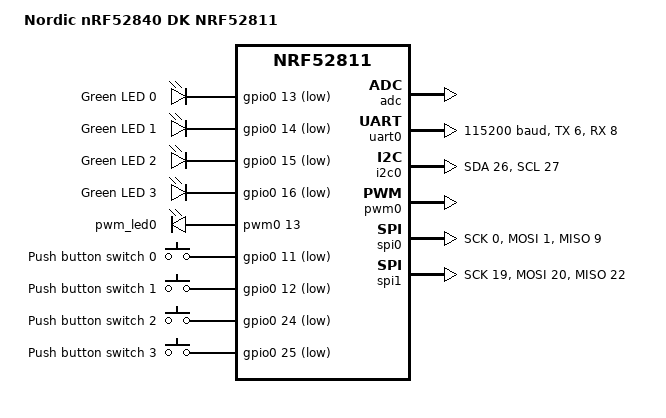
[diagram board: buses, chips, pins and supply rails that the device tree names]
/*
 * Copyright (c) 2019 Nordic Semiconductor
 *
 * SPDX-License-Identifier: Apache-2.0
 */

/dts-v1/;
#include <nordic/nrf52811_qfaa.dtsi>

/ {
	model = "Nordic nRF52840 DK NRF52811";
	compatible = "nordic,nrf52840-dk-nrf52811";

	chosen {
		zephyr,console = &uart0;
		zephyr,shell-uart = &uart0;
		zephyr,uart-mcumgr = &uart0;
		zephyr,bt-mon-uart = &uart0;
		zephyr,bt-c2h-uart = &uart0;
		zephyr,sram = &sram0;
		zephyr,flash = &flash0;
		zephyr,code-partition = &slot0_partition;
	};

	leds {
		compatible = "gpio-leds";
		led0: led_0 {
			gpios = <&gpio0 13 GPIO_ACTIVE_LOW>;
			label = "Green LED 0";
		};
		led1: led_1 {
			gpios = <&gpio0 14 GPIO_ACTIVE_LOW>;
			label = "Green LED 1";
		};
		led2: led_2 {
			gpios = <&gpio0 15 GPIO_ACTIVE_LOW>;
			label = "Green LED 2";
		};
		led3: led_3 {
			gpios = <&gpio0 16 GPIO_ACTIVE_LOW>;
			label = "Green LED 3";
		};
	};

	pwmleds {
		compatible = "pwm-leds";
		pwm_led0: pwm_led_0 {
			pwms = <&pwm0 13>;
		};
	};

	buttons {
		compatible = "gpio-keys";
		button0: button_0 {
			gpios = <&gpio0 11 (GPIO_PULL_UP | GPIO_ACTIVE_LOW)>;
			label = "Push button switch 0";
		};
		button1: button_1 {
			gpios = <&gpio0 12 (GPIO_PULL_UP | GPIO_ACTIVE_LOW)>;
			label = "Push button switch 1";
		};
		button2: button_2 {
			gpios = <&gpio0 24 (GPIO_PULL_UP | GPIO_ACTIVE_LOW)>;
			label = "Push button switch 2";
		};
		button3: button_3 {
			gpios = <&gpio0 25 (GPIO_PULL_UP | GPIO_ACTIVE_LOW)>;
			label = "Push button switch 3";
		};
	};

	/* These aliases are provided for compatibility with samples */
	aliases {
		led0 = &led0;
		led1 = &led1;
		led2 = &led2;
		led3 = &led3;
		pwm-led0 = &pwm_led0;
		sw0 = &button0;
		sw1 = &button1;
		sw2 = &button2;
		sw3 = &button3;
	};
};

&adc {
	status = "okay";
};

&gpiote {
	status = "okay";
};

&gpio0 {
	status = "okay";
};

&uart0 {
	compatible = "nordic,nrf-uarte";
	status = "okay";
	current-speed = <115200>;
	tx-pin = <6>;
	rx-pin = <8>;
	rts-pin = <5>;
	cts-pin = <7>;
};

&i2c0 {
	compatible = "nordic,nrf-twi";
	status = "okay";
	/* Arduino compatible PINs */
	sda-pin = <26>;
	scl-pin = <27>;
};

&pwm0 {
	status = "okay";
	ch0-pin = <13>;
	ch0-inverted;
};

&spi0 {
	compatible = "nordic,nrf-spi";
	status = "okay";
	sck-pin = <0>;
	mosi-pin = <1>;
	miso-pin = <9>;
};

&spi1 {
	compatible = "nordic,nrf-spi";
	/* cannot be used with i2c0 */
	sck-pin = <19>;
	mosi-pin = <20>;
	miso-pin = <22>;
};

&flash0 {

	partitions {
		compatible = "fixed-partitions";
		#address-cells = <1>;
		#size-cells = <1>;

		boot_partition: partition@0 {
			label = "mcuboot";
			reg = <0x00000000 0xc000>;
		};
		slot0_partition: partition@c000 {
			label = "image-0";
			reg = <0x0000C000 0xd000>;
		};
		slot1_partition: partition@19000 {
			label = "image-1";
			reg = <0x00019000 0xd000>;
		};
		scratch_partition: partition@26000 {
			label = "image-scratch";
			reg = <0x00026000 0x3000>;
		};
		storage_partition: partition@29000 {
			label = "storage";
			reg = <0x00029000 0x00007000>;
		};
	};
};
